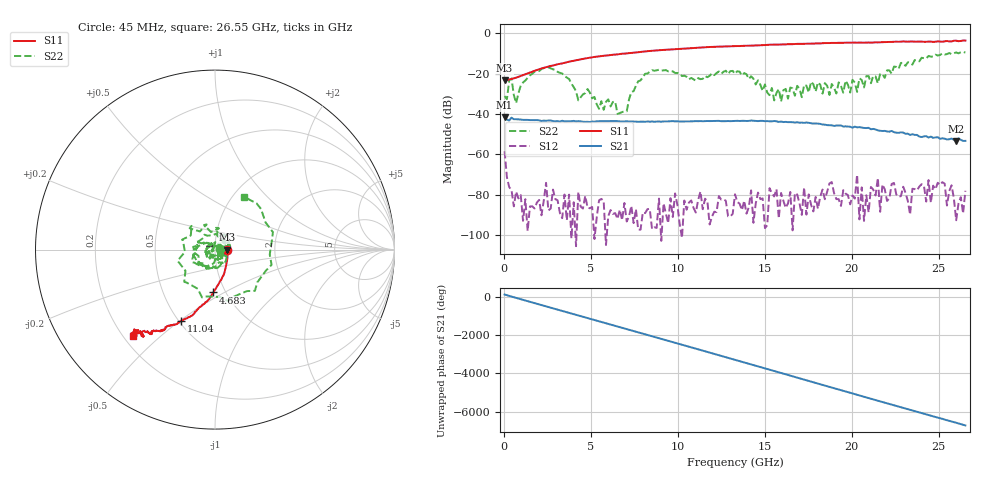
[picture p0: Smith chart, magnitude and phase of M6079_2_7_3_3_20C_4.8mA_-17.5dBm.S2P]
!  2-Port S-parameters saved by WinCal
! VAR MeasName=S-Parameters (CALIBRATED_DATA) read from VNA (C)
! VAR MeasDate=10/5/2015 6:45:48 PM
! VAR NAME=M6079_2_7_3_3_20C_4.8mA_-17.5dBm
! VAR FILENAME=M6079_2_7_3_3_20C_4.8mA_-17.5dBm.S2P
! VAR DATE=10/5/2015 6:45:48 PM
! VAR PHYS_PORTS=2,1
! VAR ObjTypeName=DATASET
! VAR IndexType=Frequency
# Hz S RI R 50
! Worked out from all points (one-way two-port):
!   201 points, 45 MHz to 26.55 GHz, reference 50 ohm
!   highest |S21| = -41.55 dB at 45 MHz (marker M1); lowest = -53.4 dB at 26.02 GHz (marker M2)
!   lowest |S11| = -23.2 dB at 45 MHz (marker M3), VSWR 1.15, Z = 57.4 - j0.055 ohm
!   |S11| at or under -10 dB: start of sweep to 6.986 GHz
!   |S22| runs from -40.0 to -9.2 dB; largest |S21 - S12| = 0.009
!   S11 on the Smith chart (normalised r, x): 45 MHz: 1.15, -0.00; 4.683 GHz: 0.88, -0.44; 11.04 GHz: 0.52, -0.51; 26.55 GHz: 0.24, -0.41
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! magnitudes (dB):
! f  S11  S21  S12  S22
! 45 MHz  -23.2  -41.6  -58.5  -31.1
! 442.5 MHz  -22.6  -41.8  -77.7  -22.4
! 575 MHz  -22.3  -42.6  -85.8  -30.6
! 2.562 GHz  -16.4  -43.2  -87.9  -16.8
! 4.55 GHz  -12.7  -43.8  -86.9  -30.3
! 4.683 GHz  -12.4  -43.9  -80.6  -29.6
! 7.067 GHz  -9.9  -43.6  -93.3  -38.7
! 7.73 GHz  -9.3  -43.9  -97.4  -23.8
! 8.922 GHz  -8.4  -43.7  -82.0  -18.0
! 11.04 GHz  -7.2  -43.5  -88.9  -23.5
! 13.29 GHz  -6.3  -43.5  -79.8  -20.1
! 15.95 GHz  -5.5  -43.7  -79.2  -33.8
! 17.8 GHz  -5.1  -44.7  -88.3  -25.2
! 20.18 GHz  -4.6  -46.2  -82.0  -24.4
! 20.32 GHz  -4.6  -46.6  -70.1  -29.0
! 20.45 GHz  -4.5  -46.5  -92.3  -22.3
! 21.38 GHz  -4.4  -47.7  -80.4  -21.4
! 21.51 GHz  -4.5  -48.1  -71.7  -24.7
! 22.17 GHz  -4.2  -48.8  -81.9  -18.4
! 24.43 GHz  -4.1  -51.7  -72.8  -11.2
! 26.02 GHz  -3.6  -53.4  -92.7  -9.4
! 26.55 GHz  -3.6  -53.3  -78.1  -9.5
